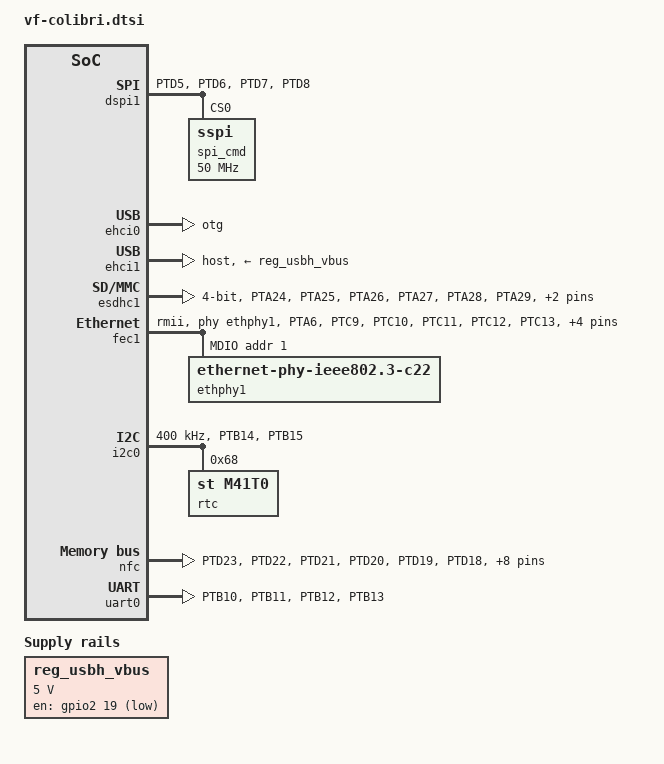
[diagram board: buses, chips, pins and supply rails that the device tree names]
// SPDX-License-Identifier: GPL-2.0+ OR X11
/*
 * Copyright 2014-2019 Toradex AG
 */

/dts-v1/;
#include "vf.dtsi"
#include "vf610-pinfunc.h"

/ {
	chosen {
		stdout-path = &uart0;
	};

	aliases {
		usb0 = &ehci0; /* required for ums */
	};

	reg_usbh_vbus: regulator-usbh-vbus {
		compatible = "regulator-fixed";
		pinctrl-names = "default";
		pinctrl-0 = <&pinctrl_usbh1_reg>;
		regulator-name = "VCC_USB[1-4]";
		regulator-min-microvolt = <5000000>;
		regulator-max-microvolt = <5000000>;
		gpio = <&gpio2 19 GPIO_ACTIVE_LOW>; /* USBH_PEN */
	};
};

&dspi1 {
	bus-num = <1>;
	pinctrl-names = "default";
	pinctrl-0 = <&pinctrl_dspi1>;
	status = "okay";

	spi_cmd: sspi@0 {
		reg = <0>;
		spi-max-frequency = <50000000>;
	};
};

&ehci0 {
	dr_mode = "otg";
	fsl,cdet-gpio = <&gpio3 6 GPIO_ACTIVE_HIGH>;
	status = "okay";
};

&ehci1 {
	dr_mode = "host";
	status = "okay";
	vbus-supply = <&reg_usbh_vbus>;
};

&esdhc1 {
	bus-width = <4>;
	cd-gpios = <&gpio1 10 GPIO_ACTIVE_LOW>;
	disable-wp;
	pinctrl-names = "default";
	pinctrl-0 = <&pinctrl_esdhc1>;
	status = "okay";
};

/* Ethernet */
&fec1 {
	phy-mode = "rmii";
	phy-handle = <&ethphy1>;
	pinctrl-names = "default";
	pinctrl-0 = <&pinctrl_fec1>;
	status = "okay";

	mdio {
		#address-cells = <1>;
		#size-cells = <0>;

		ethphy1: ethernet-phy@1 {
			compatible = "ethernet-phy-ieee802.3-c22";
			max-speed = <100>;
			reg = <1>;
		};
	};
};

&i2c0 {
	clock-frequency = <400000>;
	pinctrl-names = "default";
	pinctrl-0 = <&pinctrl_i2c0>;
	status = "okay";

	/* M41T0M6 real time clock on carrier board */
	rtc: m41t0m6@68 {
		compatible = "st,m41t0";
		reg = <0x68>;
	};
};

&iomuxc {
	pinctrl-names = "default";
	pinctrl-0 = <&pinctrl_ddr>;

	pinctrl_ddr: ddrgrp {
		fsl,pins = <
			VF610_PAD_DDR_A15__DDR_A_15             0x180
			VF610_PAD_DDR_A14__DDR_A_14             0x180
			VF610_PAD_DDR_A13__DDR_A_13             0x180
			VF610_PAD_DDR_A12__DDR_A_12             0x180
			VF610_PAD_DDR_A11__DDR_A_11             0x180
			VF610_PAD_DDR_A10__DDR_A_10             0x180
			VF610_PAD_DDR_A9__DDR_A_9               0x180
			VF610_PAD_DDR_A8__DDR_A_8               0x180
			VF610_PAD_DDR_A7__DDR_A_7               0x180
			VF610_PAD_DDR_A6__DDR_A_6               0x180
			VF610_PAD_DDR_A5__DDR_A_5               0x180
			VF610_PAD_DDR_A4__DDR_A_4               0x180
			VF610_PAD_DDR_A3__DDR_A_3               0x180
			VF610_PAD_DDR_A2__DDR_A_2               0x180
			VF610_PAD_DDR_A1__DDR_A_1               0x180
			VF610_PAD_DDR_A0__DDR_A_0               0x180
			VF610_PAD_DDR_BA2__DDR_BA_2             0x180
			VF610_PAD_DDR_BA1__DDR_BA_1             0x180
			VF610_PAD_DDR_BA0__DDR_BA_0             0x180
			VF610_PAD_DDR_CAS__DDR_CAS_B            0x180
			VF610_PAD_DDR_CKE__DDR_CKE_0            0x180
			VF610_PAD_DDR_CLK__DDR_CLK_0            0x180
			VF610_PAD_DDR_CS__DDR_CS_B_0            0x180
			VF610_PAD_DDR_D15__DDR_D_15             0x10180
			VF610_PAD_DDR_D14__DDR_D_14             0x10180
			VF610_PAD_DDR_D13__DDR_D_13             0x10180
			VF610_PAD_DDR_D12__DDR_D_12             0x10180
			VF610_PAD_DDR_D11__DDR_D_11             0x10180
			VF610_PAD_DDR_D10__DDR_D_10             0x10180
			VF610_PAD_DDR_D9__DDR_D_9               0x10180
			VF610_PAD_DDR_D8__DDR_D_8               0x10180
			VF610_PAD_DDR_D7__DDR_D_7               0x10180
			VF610_PAD_DDR_D6__DDR_D_6               0x10180
			VF610_PAD_DDR_D5__DDR_D_5               0x10180
			VF610_PAD_DDR_D4__DDR_D_4               0x10180
			VF610_PAD_DDR_D3__DDR_D_3               0x10180
			VF610_PAD_DDR_D2__DDR_D_2               0x10180
			VF610_PAD_DDR_D1__DDR_D_1               0x10180
			VF610_PAD_DDR_D0__DDR_D_0               0x10180
			VF610_PAD_DDR_DQM1__DDR_DQM_1           0x10180
			VF610_PAD_DDR_DQM0__DDR_DQM_0           0x10180
			VF610_PAD_DDR_DQS1__DDR_DQS_1           0x10180
			VF610_PAD_DDR_DQS0__DDR_DQS_0           0x10180
			VF610_PAD_DDR_RAS__DDR_RAS_B            0x180
			VF610_PAD_DDR_WE__DDR_WE_B              0x180
			VF610_PAD_DDR_ODT1__DDR_ODT_0           0x180
			VF610_PAD_DDR_ODT0__DDR_ODT_1           0x180
			VF610_PAD_DDR_DDRBYTE1__DDR_DDRBYTE1    0x180
			VF610_PAD_DDR_DDRBYTE2__DDR_DDRBYTE2    0x180
			VF610_PAD_DDR_RESETB                    0x180
		>;
	};

	pinctrl_dspi1: dspi1grp {
		fsl,pins = <
			VF610_PAD_PTD5__DSPI1_CS0		0x33e2
			VF610_PAD_PTD6__DSPI1_SIN		0x33e1
			VF610_PAD_PTD7__DSPI1_SOUT		0x33e2
			VF610_PAD_PTD8__DSPI1_SCK		0x33e2
		>;
	};

	pinctrl_esdhc1: esdhc1grp {
		fsl,pins = <
			VF610_PAD_PTA24__ESDHC1_CLK		0x31ef
			VF610_PAD_PTA25__ESDHC1_CMD		0x31ef
			VF610_PAD_PTA26__ESDHC1_DAT0		0x31ef
			VF610_PAD_PTA27__ESDHC1_DAT1		0x31ef
			VF610_PAD_PTA28__ESDHC1_DATA2		0x31ef
			VF610_PAD_PTA29__ESDHC1_DAT3		0x31ef
			VF610_PAD_PTB20__GPIO_42		0x219d
		>;
	};

	pinctrl_fec1: fec1grp {
		fsl,pins = <
			VF610_PAD_PTA6__RMII_CLKOUT		0x30df
			VF610_PAD_PTC9__ENET_RMII1_MDC		0x30df
			VF610_PAD_PTC10__ENET_RMII1_MDIO	0x30df
			VF610_PAD_PTC11__ENET_RMII1_CRS		0x30df
			VF610_PAD_PTC12__ENET_RMII1_RXD1	0x30df
			VF610_PAD_PTC13__ENET_RMII1_RXD0	0x30df
			VF610_PAD_PTC14__ENET_RMII1_RXER	0x30df
			VF610_PAD_PTC15__ENET_RMII1_TXD1	0x30df
			VF610_PAD_PTC16__ENET_RMII1_TXD0	0x30df
			VF610_PAD_PTC17__ENET_RMII1_TXEN	0x30df
		>;
	};

	pinctrl_i2c0: i2c0grp {
		fsl,pins = <
			VF610_PAD_PTB14__I2C0_SCL		0x37ff
			VF610_PAD_PTB15__I2C0_SDA		0x37ff
		>;
	};

	pinctrl_nfc: nfcgrp {
		fsl,pins = <
			VF610_PAD_PTD23__NF_IO7			0x28df
			VF610_PAD_PTD22__NF_IO6			0x28df
			VF610_PAD_PTD21__NF_IO5			0x28df
			VF610_PAD_PTD20__NF_IO4			0x28df
			VF610_PAD_PTD19__NF_IO3			0x28df
			VF610_PAD_PTD18__NF_IO2			0x28df
			VF610_PAD_PTD17__NF_IO1			0x28df
			VF610_PAD_PTD16__NF_IO0			0x28df
			VF610_PAD_PTB24__NF_WE_B		0x28c2
			VF610_PAD_PTB25__NF_CE0_B		0x28c2
			VF610_PAD_PTB27__NF_RE_B		0x28c2
			VF610_PAD_PTC26__NF_RB_B		0x283d
			VF610_PAD_PTC27__NF_ALE			0x28c2
			VF610_PAD_PTC28__NF_CLE			0x28c2
		>;
	};

	pinctrl_uart0: uart0grp {
		fsl,pins = <
			VF610_PAD_PTB10__UART0_TX		0x11af
			VF610_PAD_PTB11__UART0_RX		0x11af
			VF610_PAD_PTB12__UART0_RTS		0x11af
			VF610_PAD_PTB13__UART0_CTS		0x11af
		>;
	};

	pinctrl_usbh1_reg: gpio_usb_vbus {
		fsl,pins = <
			VF610_PAD_PTD4__GPIO_83			0x22ed
		>;
	};
};

&nfc {
	pinctrl-names = "default";
	pinctrl-0 = <&pinctrl_nfc>;
	status = "okay";
};

&uart0 {
	pinctrl-names = "default";
	pinctrl-0 = <&pinctrl_uart0>;
	status = "okay";
};
